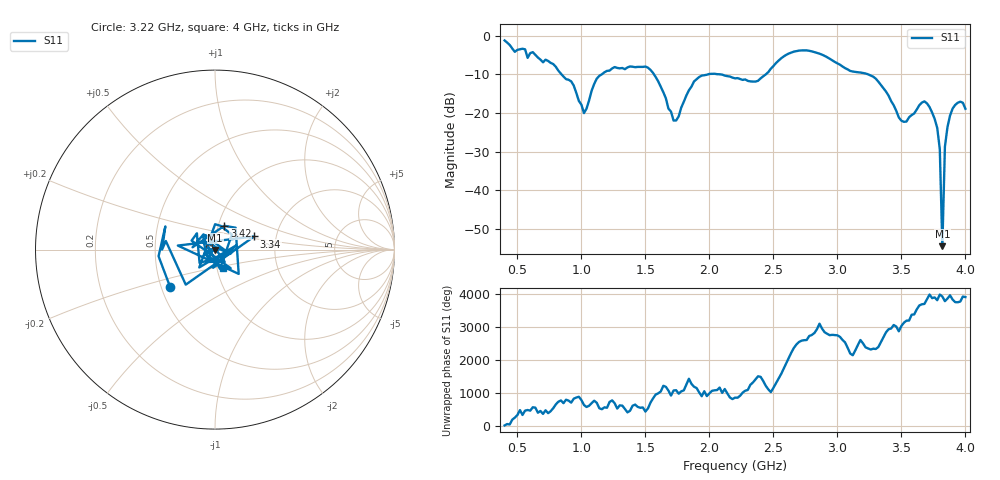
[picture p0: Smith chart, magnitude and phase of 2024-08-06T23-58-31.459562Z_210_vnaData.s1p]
!Created with skrf (http://scikit-rf.org).
# Hz S RI R 50.0
!freq ReS11 ImS11
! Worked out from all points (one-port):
!   181 points, 400 MHz to 4 GHz, reference 50 ohm
!   lowest |S11| = -54.6 dB at 3.82 GHz (marker M1), VSWR 1.00, Z = 50.1 - j0.143 ohm
!   |S11| at or under -10 dB: 1.567 GHz to 1.989 GHz (421.6 MHz wide, 23.7 % of centre); 2.087 GHz to 2.441 GHz (353.5 MHz wide, 15.6 % of centre); 3.241 GHz to end of sweep (the widest 3 of 4)
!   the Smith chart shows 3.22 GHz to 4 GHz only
!   S11 on the Smith chart (normalised r, x): 3.22 GHz: 0.56, -0.26; 3.34 GHz: 1.54, +0.24; 3.42 GHz: 1.07, +0.29; 4 GHz: 1.07, -0.22
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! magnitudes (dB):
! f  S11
! 400 MHz  -1.2
! 860 MHz  -10.6
! 940 MHz  -12.9
! 1.02 GHz  -20.0
! 1.12 GHz  -11.1
! 1.3 GHz  -8.4
! 1.52 GHz  -8.3
! 1.6 GHz  -11.8
! 1.72 GHz  -22.0
! 1.76 GHz  -20.9
! 1.92 GHz  -10.7
! 2.2 GHz  -11.0
! 2.38 GHz  -11.7
! 2.66 GHz  -4.1
! 3.1 GHz  -9.1
! 3.22 GHz  -9.8
! 3.34 GHz  -12.8
! 3.42 GHz  -16.9
! 3.5 GHz  -22.0
! 3.56 GHz  -21.1
! 3.68 GHz  -17.0
! 3.78 GHz  -23.9
! 3.8 GHz  -29.4
! 3.82 GHz  -54.6
! 3.84 GHz  -28.8
! 3.86 GHz  -23.7
! 3.92 GHz  -17.9
! 4 GHz  -18.9
